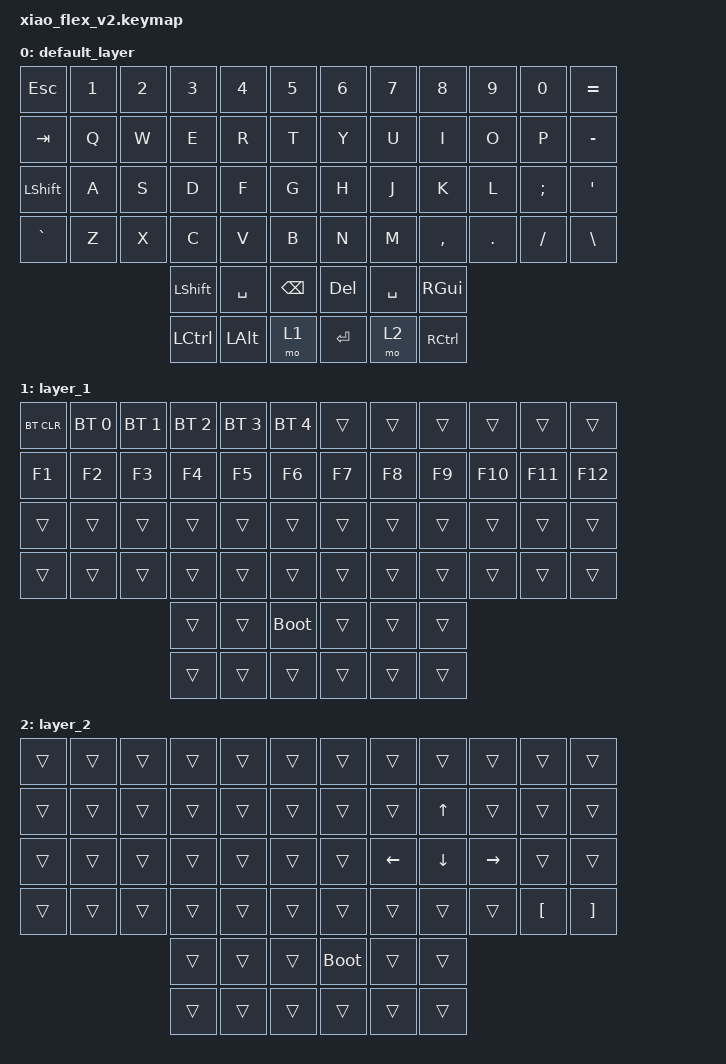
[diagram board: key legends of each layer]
/*
 * Copyright (c) 2020 The ZMK Contributors
 *
 * SPDX-License-Identifier: MIT
 */

#include <behaviors.dtsi>
#include <dt-bindings/zmk/bt.h>
#include <dt-bindings/zmk/keys.h>

/ {
    keymap {
        compatible = "zmk,keymap";

        default_layer {
            // ------------------------------------------------------------------------------------------------------------
            // |  ESC   |  1  |  2  |  3   |  4   |  5   |                    |  6   |  7    |  8    |  9   |   0   |   `   |
            // |  TAB   |  Q  |  W  |  E   |  R   |  T   |                    |  Y   |  U    |  I    |  O   |   P   |   -   |
            // |  CTRL  |  A  |  S  |  D   |  F   |  G   |                    |  H   |  J    |  K    |  L   |   ;   |   '   |
            // | SHIFT  |  Z  |  X  |  C   |  V   |  B   |                    |  N   |  M    |  ,    |  .   |   /   | SHIFT |
            // |    2   |  2  | f   | 6    | 4    | 1    |                    | 2    | 1     | w     | s    | n     |  a    |

            bindings = <
&kp ESC    &kp N1  &kp N2  &kp N3     &kp N4     &kp N5      &kp N6     &kp N7     &kp N8     &kp N9   &kp N0    &kp EQUAL
&kp TAB    &kp Q   &kp W   &kp E      &kp R      &kp T       &kp Y      &kp U      &kp I      &kp O    &kp P     &kp MINUS
&kp LSHFT  &kp A   &kp S   &kp D      &kp F      &kp G       &kp H      &kp J      &kp K      &kp L    &kp SEMI  &kp SQT
&kp GRAVE  &kp Z   &kp X   &kp C      &kp V      &kp B       &kp N      &kp M      &kp COMMA  &kp DOT  &kp FSLH  &kp BSLH
                           &kp LSHFT  &kp SPACE  &kp BSPC    &kp DEL    &kp SPACE  &kp RGUI
                           &kp LCTRL  &kp LALT   &mo 1       &kp ENTER  &mo 2      &kp RCTRL
            >;
        };

        layer_1 {
            bindings = <
&bt BT_CLR  &bt BT_SEL 0  &bt BT_SEL 1  &bt BT_SEL 2  &bt BT_SEL 3  &bt BT_SEL 4    &trans  &trans  &trans  &trans   &trans   &trans
&kp F1      &kp F2        &kp F3        &kp F4        &kp F5        &kp F6          &kp F7  &kp F8  &kp F9  &kp F10  &kp F11  &kp F12
&trans      &trans        &trans        &trans        &trans        &trans          &trans  &trans  &trans  &trans   &trans   &trans
&trans      &trans        &trans        &trans        &trans        &trans          &trans  &trans  &trans  &trans   &trans   &trans
                                        &trans        &trans        &bootloader     &trans  &trans  &trans
                                        &trans        &trans        &trans          &trans  &trans  &trans
            >;
        };

        layer_2 {
            bindings = <
&trans  &trans  &trans  &trans  &trans  &trans    &trans       &trans    &trans    &trans     &trans            &trans
&trans  &trans  &trans  &trans  &trans  &trans    &trans       &trans    &kp UP    &trans     &trans            &trans
&trans  &trans  &trans  &trans  &trans  &trans    &trans       &kp LEFT  &kp DOWN  &kp RIGHT  &trans            &trans
&trans  &trans  &trans  &trans  &trans  &trans    &trans       &trans    &trans    &trans     &kp LEFT_BRACKET  &kp RIGHT_BRACKET
                        &trans  &trans  &trans    &bootloader  &trans    &trans
                        &trans  &trans  &trans    &trans       &trans    &trans
            >;
        };
    };
};
